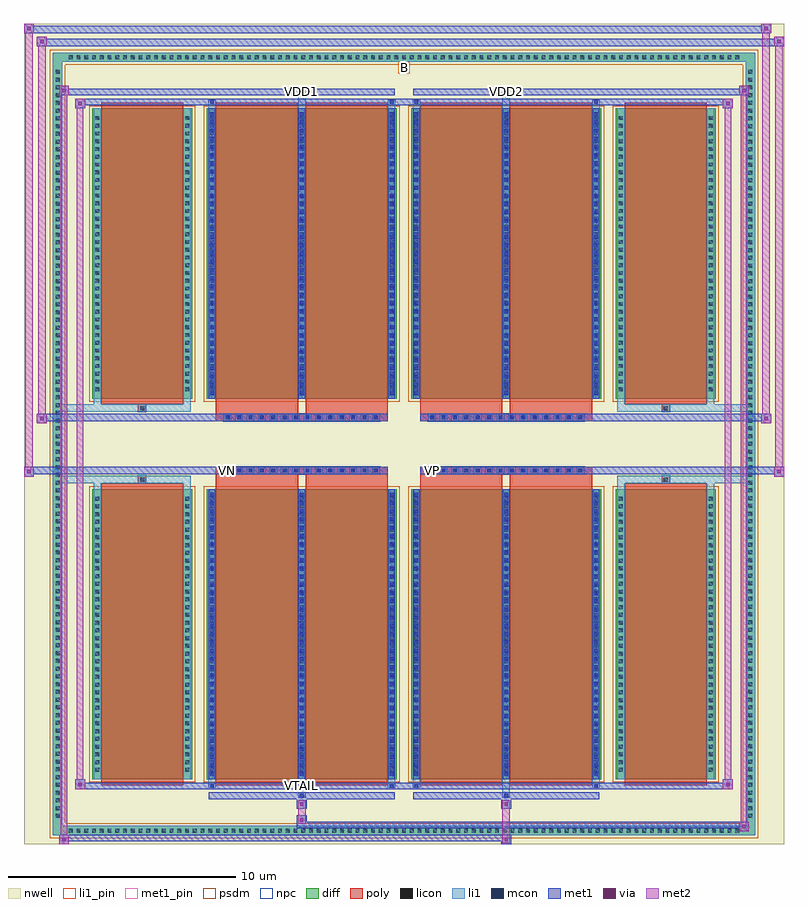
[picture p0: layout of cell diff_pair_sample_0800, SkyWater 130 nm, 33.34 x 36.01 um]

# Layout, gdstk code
import gdstk
lib = gdstk.Library(unit=1e-6, precision=5e-09)
def R(c, l, rs):  # rectangles x0, y0, x1, y1
    for r in rs: c.add(gdstk.rectangle(r[:2], r[2:], *l))
def A(c, l, x, y, w, h, nx, ny, dx, dy):  # array of equal rectangles
    R(c, l, [(x+i*dx, y+j*dy, x+i*dx+w, y+j*dy+h) for i in range(nx) for j in range(ny)])
def P(c, l, *ps):  # polygons
    for p in ps: c.add(gdstk.Polygon(p, *l))
nwell = (64, 20)
diff = (65, 20)
poly = (66, 20)
licon = (66, 44)
li1_pin = (67, 16)
li1 = (67, 20)
mcon = (67, 44)
met1_pin = (68, 16)
met1 = (68, 20)
via = (68, 44)
met2 = (69, 20)
psdm = (94, 20)
npc = (95, 20)

diff_pair_sample_0800 = lib.new_cell('diff_pair_sample_0800')
R(diff_pair_sample_0800, nwell, [(-16.67,-17.57,16.67,18.44), (-13.99,-15.76,-0.01,-0.8), (0.01,-15.76,13.99,-0.8), (-13.99,0.8,-0.01,15.76), (0.01,0.8,13.99,15.76)])
A(diff_pair_sample_0800, diff, -14.825, -17.17, 0.41, 0.41, 87, 2, 0.34, 33.93)
A(diff_pair_sample_0800, diff, -15.4, -16.525, 0.41, 0.41, 1, 97, 0, 0.34)
A(diff_pair_sample_0800, diff, 14.99, -16.525, 0.41, 0.41, 1, 97, 0, 0.34)
R(diff_pair_sample_0800, diff, [(-14.825,-17.17,14.825,-16.76), (-15.4,-16.525,-14.99,16.525), (14.99,-16.525,15.4,16.525), (-13.68,-14.715,-9.29,-1.985), (-8.65,-14.715,-0.32,-1.985), (0.32,-14.715,8.65,-1.985), (9.29,-14.715,13.68,-1.985), (-13.68,1.985,-9.29,14.715), (-8.65,1.985,-0.32,14.715), (0.32,1.985,8.65,14.715), (9.29,1.985,13.68,14.715), (-14.825,16.76,14.825,17.17)])
P(diff_pair_sample_0800, diff, [(15.4,17.17),(-15.4,17.17),(-15.4,-16.76),(-14.99,-16.76),(-14.99,16.76),(14.99,16.76),(14.99,-16.76),(-14.99,-16.76),(-15.4,-16.76),(-15.4,-17.17),(15.4,-17.17)])
A(diff_pair_sample_0800, poly, -7.9, -1.33, 0.33, 0.33, 14, 2, 0.5, 2.33)
A(diff_pair_sample_0800, poly, 1.07, -1.33, 0.33, 0.33, 14, 2, 0.5, 2.33)
R(diff_pair_sample_0800, poly, [(-13.29,-14.965,-9.68,-1.735), (-8.26,-14.965,-4.65,-1.735), (-4.32,-14.965,-0.71,-1.735), (0.71,-14.965,4.32,-1.735), (4.65,-14.965,8.26,-1.735), (9.68,-14.965,13.29,-1.735), (-11.65,-1.735,-11.32,-1.405), (-11.65,-1.735,-11.32,-1.405), (-8.26,-1.735,-4.65,-1.33), (-4.32,-1.735,-0.71,-1.33), (0.71,-1.735,4.32,-1.33), (4.65,-1.735,8.26,-1.33), (11.32,-1.735,11.65,-1.405), (11.32,-1.735,11.65,-1.405), (-8.26,-1.33,-0.71,-1), (0.71,-1.33,8.26,-1), (-8.26,1,-0.71,1.33), (0.71,1,8.26,1.33), (-8.26,1.33,-4.65,1.735), (-4.32,1.33,-0.71,1.735), (0.71,1.33,4.32,1.735), (4.65,1.33,8.26,1.735), (-11.65,1.405,-11.32,1.735), (-11.65,1.405,-11.32,1.735), (11.32,1.405,11.65,1.735), (11.32,1.405,11.65,1.735), (-13.29,1.735,-9.68,14.965), (-8.26,1.735,-4.65,14.965), (-4.32,1.735,-0.71,14.965), (0.71,1.735,4.32,14.965), (4.65,1.735,8.26,14.965), (9.68,1.735,13.29,14.965)])
A(diff_pair_sample_0800, licon, -14.705, -17.05, 0.17, 0.17, 87, 2, 0.34, 33.93)
A(diff_pair_sample_0800, licon, -15.28, -16.405, 0.17, 0.17, 1, 97, 0, 0.34)
A(diff_pair_sample_0800, licon, 15.11, -16.405, 0.17, 0.17, 1, 97, 0, 0.34)
A(diff_pair_sample_0800, licon, -13.54, -14.385, 0.17, 0.17, 1, 36, 0, 0.34)
A(diff_pair_sample_0800, licon, -9.6, -14.385, 0.17, 0.17, 1, 36, 0, 0.34)
A(diff_pair_sample_0800, licon, -8.51, -14.385, 0.17, 0.17, 3, 36, 3.94, 0.34)
A(diff_pair_sample_0800, licon, 0.46, -14.385, 0.17, 0.17, 3, 36, 3.94, 0.34)
A(diff_pair_sample_0800, licon, 9.43, -14.385, 0.17, 0.17, 1, 36, 0, 0.34)
A(diff_pair_sample_0800, licon, 13.37, -14.385, 0.17, 0.17, 1, 36, 0, 0.34)
A(diff_pair_sample_0800, licon, -7.82, -1.25, 0.17, 0.17, 14, 2, 0.5, 2.33)
A(diff_pair_sample_0800, licon, 1.15, -1.25, 0.17, 0.17, 14, 2, 0.5, 2.33)
A(diff_pair_sample_0800, licon, -13.54, 2.315, 0.17, 0.17, 1, 36, 0, 0.34)
A(diff_pair_sample_0800, licon, -9.6, 2.315, 0.17, 0.17, 1, 36, 0, 0.34)
A(diff_pair_sample_0800, licon, -8.51, 2.315, 0.17, 0.17, 3, 36, 3.94, 0.34)
A(diff_pair_sample_0800, licon, 0.46, 2.315, 0.17, 0.17, 3, 36, 3.94, 0.34)
A(diff_pair_sample_0800, licon, 9.43, 2.315, 0.17, 0.17, 1, 36, 0, 0.34)
A(diff_pair_sample_0800, licon, 13.37, 2.315, 0.17, 0.17, 1, 36, 0, 0.34)
R(diff_pair_sample_0800, licon, [(-11.57,-1.655,-11.4,-1.485), (11.4,-1.655,11.57,-1.485), (-11.57,1.485,-11.4,1.655), (11.4,1.485,11.57,1.655)])
R(diff_pair_sample_0800, li1_pin, [(-0.25,16.26,0.25,16.76)])
A(diff_pair_sample_0800, li1, -14.785, -17.13, 0.33, 0.33, 87, 2, 0.34, 33.93)
A(diff_pair_sample_0800, li1, -15.36, -16.485, 0.33, 0.33, 1, 97, 0, 0.34)
A(diff_pair_sample_0800, li1, 15.03, -16.485, 0.33, 0.33, 1, 97, 0, 0.34)
A(diff_pair_sample_0800, li1, -8.59, -14.715, 0.33, 12.73, 3, 2, 3.94, 16.7)
A(diff_pair_sample_0800, li1, 0.38, -14.715, 0.33, 12.73, 3, 2, 3.94, 16.7)
A(diff_pair_sample_0800, li1, -8.51, -14.555, 0.17, 0.17, 3, 35, 3.94, 0.36)
A(diff_pair_sample_0800, li1, -8.51, -14.555, 0.17, 12.41, 3, 2, 3.94, 16.7)
A(diff_pair_sample_0800, li1, 0.46, -14.555, 0.17, 0.17, 3, 35, 3.94, 0.36)
A(diff_pair_sample_0800, li1, 0.46, -14.555, 0.17, 12.41, 3, 2, 3.94, 16.7)
A(diff_pair_sample_0800, li1, -13.62, -14.465, 0.33, 0.33, 1, 36, 0, 0.34)
A(diff_pair_sample_0800, li1, -9.68, -14.465, 0.33, 0.33, 1, 36, 0, 0.34)
A(diff_pair_sample_0800, li1, -8.59, -14.465, 0.33, 0.33, 3, 36, 3.94, 0.34)
A(diff_pair_sample_0800, li1, 0.38, -14.465, 0.33, 0.33, 3, 36, 3.94, 0.34)
A(diff_pair_sample_0800, li1, 9.35, -14.465, 0.33, 0.33, 1, 36, 0, 0.34)
A(diff_pair_sample_0800, li1, 13.29, -14.465, 0.33, 0.33, 1, 36, 0, 0.34)
A(diff_pair_sample_0800, li1, -7.9, -1.33, 0.33, 0.33, 14, 2, 0.5, 2.33)
A(diff_pair_sample_0800, li1, 1.07, -1.33, 0.33, 0.33, 14, 2, 0.5, 2.33)
A(diff_pair_sample_0800, li1, -8.51, 2.145, 0.17, 0.17, 3, 35, 3.94, 0.36)
A(diff_pair_sample_0800, li1, 0.46, 2.145, 0.17, 0.17, 3, 35, 3.94, 0.36)
A(diff_pair_sample_0800, li1, -13.62, 2.235, 0.33, 0.33, 1, 36, 0, 0.34)
A(diff_pair_sample_0800, li1, -9.68, 2.235, 0.33, 0.33, 1, 36, 0, 0.34)
A(diff_pair_sample_0800, li1, -8.59, 2.235, 0.33, 0.33, 3, 36, 3.94, 0.34)
A(diff_pair_sample_0800, li1, 0.38, 2.235, 0.33, 0.33, 3, 36, 3.94, 0.34)
A(diff_pair_sample_0800, li1, 9.35, 2.235, 0.33, 0.33, 1, 36, 0, 0.34)
A(diff_pair_sample_0800, li1, 13.29, 2.235, 0.33, 0.33, 1, 36, 0, 0.34)
R(diff_pair_sample_0800, li1, [(-15.4,-17.17,-14.99,-16.76), (-15.4,-17.17,-14.99,-16.76), (-14.99,-17.17,14.99,-16.76), (14.99,-17.17,15.4,-16.76), (14.99,-17.17,15.4,-16.76), (-15.4,-16.76,-14.99,16.76), (14.99,-16.76,15.4,16.76), (-4.65,-15.52,-4.32,-14.715), (-4.57,-15.52,-4.4,-15.35), (4.32,-15.52,4.65,-14.715), (4.4,-15.52,4.57,-15.35), (-8.59,-15.09,-8.26,-14.715), (-8.51,-15.09,-8.34,-14.92), (-0.71,-15.09,-0.38,-14.715), (-0.63,-15.09,-0.46,-14.92), (0.38,-15.09,0.71,-14.715), (0.46,-15.09,0.63,-14.92), (8.26,-15.09,8.59,-14.715), (8.34,-15.09,8.51,-14.92), (-13.62,-14.715,-13.29,-1.985), (-9.68,-14.715,-9.35,-1.985), (9.35,-14.715,9.68,-1.985), (13.29,-14.715,13.62,-1.985), (-13.62,-1.985,-13.29,-1.405), (-9.68,-1.985,-9.35,-1.405), (9.35,-1.985,9.68,-1.405), (13.29,-1.985,13.62,-1.405), (-15.4,-1.735,-11.65,-1.405), (-13.62,-1.735,-11.65,-1.405), (-11.65,-1.735,-11.32,-1.405), (-11.32,-1.735,-9.35,-1.405), (9.35,-1.735,11.32,-1.405), (11.32,-1.735,11.65,-1.405), (11.32,-1.735,15.4,-1.405), (11.65,-1.735,13.62,-1.405), (-15.4,1.405,-11.65,1.735), (-13.62,1.405,-11.65,1.735), (-13.62,1.405,-13.29,1.985), (-11.65,1.405,-11.32,1.735), (-11.32,1.405,-9.35,1.735), (-9.68,1.405,-9.35,1.985), (9.35,1.405,11.32,1.735), (9.35,1.405,9.68,1.985), (11.32,1.405,11.65,1.735), (11.32,1.405,15.4,1.735), (11.65,1.405,13.62,1.735), (13.29,1.405,13.62,1.985), (-13.62,1.985,-13.29,14.715), (-9.68,1.985,-9.35,14.715), (9.35,1.985,9.68,14.715), (13.29,1.985,13.62,14.715), (-8.59,14.715,-8.26,15.09), (-4.65,14.715,-4.32,15.52), (-0.71,14.715,-0.38,15.09), (0.38,14.715,0.71,15.09), (4.32,14.715,4.65,15.52), (8.26,14.715,8.59,15.09), (-8.51,14.92,-8.34,15.09), (-0.63,14.92,-0.46,15.09), (0.46,14.92,0.63,15.09), (8.34,14.92,8.51,15.09), (-4.57,15.35,-4.4,15.52), (4.4,15.35,4.57,15.52), (-15.4,16.76,-14.99,17.17), (-15.4,16.76,-14.99,17.17), (-14.99,16.76,14.99,17.17), (14.99,16.76,15.4,17.17), (14.99,16.76,15.4,17.17)])
A(diff_pair_sample_0800, mcon, -8.51, -14.555, 0.17, 0.17, 3, 35, 3.94, 0.36)
A(diff_pair_sample_0800, mcon, 0.46, -14.555, 0.17, 0.17, 3, 35, 3.94, 0.36)
A(diff_pair_sample_0800, mcon, -7.82, -1.25, 0.17, 0.17, 14, 2, 0.5, 2.33)
A(diff_pair_sample_0800, mcon, 1.15, -1.25, 0.17, 0.17, 14, 2, 0.5, 2.33)
A(diff_pair_sample_0800, mcon, -8.51, 2.145, 0.17, 0.17, 3, 35, 3.94, 0.36)
A(diff_pair_sample_0800, mcon, 0.46, 2.145, 0.17, 0.17, 3, 35, 3.94, 0.36)
R(diff_pair_sample_0800, mcon, [(-4.57,-15.52,-4.4,-15.35), (4.4,-15.52,4.57,-15.35), (-8.51,-15.09,-8.34,-14.92), (-0.63,-15.09,-0.46,-14.92), (0.46,-15.09,0.63,-14.92), (8.34,-15.09,8.51,-14.92), (-8.51,14.92,-8.34,15.09), (-0.63,14.92,-0.46,15.09), (0.46,14.92,0.63,15.09), (8.34,14.92,8.51,15.09), (-4.57,15.35,-4.4,15.52), (4.4,15.35,4.57,15.52)])
R(diff_pair_sample_0800, met1_pin, [(-4.62,-15.13,-4.35,-14.86), (-7.87,-1.29,-7.6,-1.02), (1.1,-1.29,1.37,-1.02), (-4.62,15.31,-4.35,15.58), (4.35,15.31,4.62,15.58)])
A(diff_pair_sample_0800, met1, -8.57, -14.715, 0.29, 12.73, 3, 2, 3.94, 16.7)
A(diff_pair_sample_0800, met1, 0.4, -14.715, 0.29, 12.73, 3, 2, 3.94, 16.7)
A(diff_pair_sample_0800, met1, -8.57, -14.615, 0.29, 0.29, 3, 35, 3.94, 0.36)
A(diff_pair_sample_0800, met1, 0.4, -14.615, 0.29, 0.29, 3, 35, 3.94, 0.36)
A(diff_pair_sample_0800, met1, -7.88, -1.31, 0.29, 0.29, 14, 2, 0.5, 2.33)
A(diff_pair_sample_0800, met1, 1.09, -1.31, 0.29, 0.29, 14, 2, 0.5, 2.33)
A(diff_pair_sample_0800, met1, -8.57, 2.085, 0.29, 0.29, 3, 35, 3.94, 0.36)
A(diff_pair_sample_0800, met1, 0.4, 2.085, 0.29, 0.29, 3, 35, 3.94, 0.36)
R(diff_pair_sample_0800, met1, [(-15.13,-17.57,-14.7,-17.14), (4.27,-17.57,4.7,-17.14), (-15.13,-17.43,4.7,-17.14), (14.7,-17,15.13,-16.57), (-4.7,-16.86,15.13,-16.57), (-4.7,-16.72,-4.27,-16.29), (-4.7,-16.01,-4.27,-15.58), (4.27,-16.01,4.7,-15.58), (-8.57,-15.58,-0.4,-15.29), (-4.63,-15.58,-4.34,-15.29), (0.4,-15.58,8.57,-15.29), (4.34,-15.58,4.63,-15.29), (-14.42,-15.15,-13.99,-14.72), (-14.42,-15.15,-8.57,-14.86), (-8.57,-15.15,-8.28,-14.86), (-8.57,-15.15,-0.4,-14.86), (-0.69,-15.15,-0.4,-14.86), (-0.4,-15.15,0.4,-14.86), (0.4,-15.15,0.69,-14.86), (0.4,-15.15,8.57,-14.86), (8.28,-15.15,8.57,-14.86), (8.57,-15.15,14.42,-14.86), (13.99,-15.15,14.42,-14.72), (-16.67,-1.43,-16.24,-1), (16.24,-1.43,16.67,-1), (-16.67,-1.33,-0.71,-1), (-8.26,-1.33,-0.71,-1), (0.71,-1.33,8.26,-1), (0.71,-1.33,16.67,-1), (-16.1,0.9,-15.67,1.33), (15.67,0.9,16.1,1.33), (-16.1,1,-8.26,1.33), (-8.26,1,-0.71,1.33), (0.71,1,8.26,1.33), (8.26,1,16.1,1.33), (-14.42,14.72,-13.99,15.15), (13.99,14.72,14.42,15.15), (-14.42,14.86,-8.57,15.15), (-8.57,14.86,-8.28,15.15), (-8.57,14.86,-0.4,15.15), (-0.69,14.86,-0.4,15.15), (-0.4,14.86,0.4,15.15), (0.4,14.86,0.69,15.15), (0.4,14.86,8.57,15.15), (8.28,14.86,8.57,15.15), (8.57,14.86,14.42,15.15), (-15.13,15.29,-14.7,15.72), (-15.13,15.29,-8.57,15.58), (-8.57,15.29,-0.4,15.58), (-4.63,15.29,-4.34,15.58), (0.4,15.29,8.57,15.58), (4.34,15.29,4.63,15.58), (8.57,15.29,15.13,15.58), (14.7,15.29,15.13,15.72), (-16.1,17.44,-15.67,17.87), (-16.1,17.44,-13.99,17.77), (-13.99,17.44,13.99,17.77), (13.99,17.44,16.67,17.77), (16.24,17.44,16.67,17.87), (-16.67,18.01,-16.24,18.44), (-16.67,18.01,-13.99,18.34), (-13.99,18.01,13.99,18.34), (13.99,18.01,16.1,18.34), (15.67,18.01,16.1,18.44)])
R(diff_pair_sample_0800, via, [(-14.99,-17.43,-14.84,-17.28), (4.41,-17.43,4.56,-17.28), (14.84,-16.86,14.99,-16.71), (-4.56,-16.58,-4.41,-16.43), (-4.56,-15.87,-4.41,-15.72), (4.41,-15.87,4.56,-15.72), (-14.28,-15.01,-14.13,-14.86), (14.13,-15.01,14.28,-14.86), (-16.53,-1.29,-16.38,-1.14), (16.38,-1.29,16.53,-1.14), (-15.96,1.04,-15.81,1.19), (15.81,1.04,15.96,1.19), (-14.28,14.86,-14.13,15.01), (14.13,14.86,14.28,15.01), (-14.99,15.43,-14.84,15.58), (14.84,15.43,14.99,15.58), (-15.96,17.58,-15.81,17.73), (16.38,17.58,16.53,17.73), (-16.53,18.15,-16.38,18.3), (15.81,18.15,15.96,18.3)])
R(diff_pair_sample_0800, met2, [(-15.13,-17.57,-14.7,-17.14), (-15.06,-17.57,-14.77,15.72), (-14.77,-17.57,-14.7,-17.14), (-15.08,-17.52,-14.75,-17.19), (4.32,-17.52,4.65,-17.19), (4.32,-17.19,4.65,-15.96), (14.7,-17,15.13,-16.57), (14.77,-17,15.06,15.72), (15.06,-17,15.13,-16.57), (14.75,-16.95,15.08,-16.62), (-4.65,-16.67,-4.32,-16.34), (-4.65,-16.34,-4.32,-15.96), (-4.65,-15.96,-4.32,-15.63), (4.32,-15.96,4.65,-15.63), (-14.42,-15.15,-13.99,-14.72), (-14.35,-15.15,-14.06,15.15), (-14.06,-15.15,-13.99,-14.72), (13.99,-15.15,14.42,-14.72), (14.06,-15.15,14.35,15.15), (14.35,-15.15,14.42,-14.72), (-14.37,-15.1,-14.04,-14.77), (14.04,-15.1,14.37,-14.77), (-16.67,-1.43,-16.24,-1), (-16.62,-1.43,-16.29,18.44), (-16.29,-1.43,-16.24,-1), (16.24,-1.43,16.67,-1), (16.29,-1.43,16.62,17.87), (16.62,-1.43,16.67,-1), (-16.62,-1.38,-16.29,-1.05), (16.29,-1.38,16.62,-1.05), (-16.1,0.9,-15.67,1.33), (-16.05,0.9,-15.72,17.87), (-15.72,0.9,-15.67,1.33), (15.67,0.9,16.1,1.33), (15.72,0.9,16.05,18.44), (16.05,0.9,16.1,1.33), (-16.05,0.95,-15.72,1.28), (15.72,0.95,16.05,1.28), (-14.42,14.72,-13.99,15.15), (-14.06,14.72,-13.99,15.15), (13.99,14.72,14.42,15.15), (14.35,14.72,14.42,15.15), (-14.37,14.77,-14.04,15.1), (14.04,14.77,14.37,15.1), (-15.13,15.29,-14.7,15.72), (-14.77,15.29,-14.7,15.72), (14.7,15.29,15.13,15.72), (15.06,15.29,15.13,15.72), (-15.08,15.34,-14.75,15.67), (14.75,15.34,15.08,15.67), (-16.1,17.44,-15.67,17.87), (-15.72,17.44,-15.67,17.87), (16.24,17.44,16.67,17.87), (16.62,17.44,16.67,17.87), (-16.05,17.49,-15.72,17.82), (16.29,17.49,16.62,17.82), (-16.67,18.01,-16.24,18.44), (-16.29,18.01,-16.24,18.44), (15.67,18.01,16.1,18.44), (16.05,18.01,16.1,18.44), (-16.62,18.06,-16.29,18.39), (15.72,18.06,16.05,18.39)])
R(diff_pair_sample_0800, psdm, [(-13.81,-14.845,-9.16,-1.855), (-8.78,-14.845,-0.19,-1.855), (0.19,-14.845,8.78,-1.855), (9.16,-14.845,13.81,-1.855), (-13.81,1.855,-9.16,14.845), (-8.78,1.855,-0.19,14.845), (0.19,1.855,8.78,14.845), (9.16,1.855,13.81,14.845)])
P(diff_pair_sample_0800, psdm, [(15.53,17.3),(-15.53,17.3),(-15.53,-16.63),(-14.86,-16.63),(-14.86,16.63),(14.86,16.63),(14.86,-16.63),(-14.86,-16.63),(-15.53,-16.63),(-15.53,-17.3),(15.53,-17.3)])
A(diff_pair_sample_0800, npc, -7.92, -1.35, 0.37, 0.37, 14, 2, 0.5, 2.33)
A(diff_pair_sample_0800, npc, 1.05, -1.35, 0.37, 0.37, 14, 2, 0.5, 2.33)
R(diff_pair_sample_0800, npc, [(-11.67,-1.755,-11.3,-1.385), (11.3,-1.755,11.67,-1.385), (-7.92,-1.35,-7.05,-0.98), (-7.92,-1.35,-7.05,-0.98), (-7.42,-1.35,-6.55,-0.98), (-7.42,-1.35,-6.55,-0.98), (-6.92,-1.35,-6.05,-0.98), (-6.92,-1.35,-6.05,-0.98), (-6.42,-1.35,-5.55,-0.98), (-6.42,-1.35,-5.55,-0.98), (-5.92,-1.35,-5.05,-0.98), (-5.92,-1.35,-5.05,-0.98), (-5.42,-1.35,-4.55,-0.98), (-5.42,-1.35,-4.55,-0.98), (-4.92,-1.35,-4.05,-0.98), (-4.92,-1.35,-4.05,-0.98), (-4.42,-1.35,-3.55,-0.98), (-4.42,-1.35,-3.55,-0.98), (-3.92,-1.35,-3.05,-0.98), (-3.92,-1.35,-3.05,-0.98), (-3.42,-1.35,-2.55,-0.98), (-3.42,-1.35,-2.55,-0.98), (-2.92,-1.35,-2.05,-0.98), (-2.92,-1.35,-2.05,-0.98), (-2.42,-1.35,-1.55,-0.98), (-2.42,-1.35,-1.55,-0.98), (-1.92,-1.35,-1.05,-0.98), (-1.92,-1.35,-1.05,-0.98), (1.05,-1.35,1.92,-0.98), (1.05,-1.35,1.92,-0.98), (1.55,-1.35,2.42,-0.98), (1.55,-1.35,2.42,-0.98), (2.05,-1.35,2.92,-0.98), (2.05,-1.35,2.92,-0.98), (2.55,-1.35,3.42,-0.98), (2.55,-1.35,3.42,-0.98), (3.05,-1.35,3.92,-0.98), (3.05,-1.35,3.92,-0.98), (3.55,-1.35,4.42,-0.98), (3.55,-1.35,4.42,-0.98), (4.05,-1.35,4.92,-0.98), (4.05,-1.35,4.92,-0.98), (4.55,-1.35,5.42,-0.98), (4.55,-1.35,5.42,-0.98), (5.05,-1.35,5.92,-0.98), (5.05,-1.35,5.92,-0.98), (5.55,-1.35,6.42,-0.98), (5.55,-1.35,6.42,-0.98), (6.05,-1.35,6.92,-0.98), (6.05,-1.35,6.92,-0.98), (6.55,-1.35,7.42,-0.98), (6.55,-1.35,7.42,-0.98), (7.05,-1.35,7.92,-0.98), (7.05,-1.35,7.92,-0.98), (-7.92,0.98,-7.05,1.35), (-7.92,0.98,-7.05,1.35), (-7.42,0.98,-6.55,1.35), (-7.42,0.98,-6.55,1.35), (-6.92,0.98,-6.05,1.35), (-6.92,0.98,-6.05,1.35), (-6.42,0.98,-5.55,1.35), (-6.42,0.98,-5.55,1.35), (-5.92,0.98,-5.05,1.35), (-5.92,0.98,-5.05,1.35), (-5.42,0.98,-4.55,1.35), (-5.42,0.98,-4.55,1.35), (-4.92,0.98,-4.05,1.35), (-4.92,0.98,-4.05,1.35), (-4.42,0.98,-3.55,1.35), (-4.42,0.98,-3.55,1.35), (-3.92,0.98,-3.05,1.35), (-3.92,0.98,-3.05,1.35), (-3.42,0.98,-2.55,1.35), (-3.42,0.98,-2.55,1.35), (-2.92,0.98,-2.05,1.35), (-2.92,0.98,-2.05,1.35), (-2.42,0.98,-1.55,1.35), (-2.42,0.98,-1.55,1.35), (-1.92,0.98,-1.05,1.35), (-1.92,0.98,-1.05,1.35), (1.05,0.98,1.92,1.35), (1.05,0.98,1.92,1.35), (1.55,0.98,2.42,1.35), (1.55,0.98,2.42,1.35), (2.05,0.98,2.92,1.35), (2.05,0.98,2.92,1.35), (2.55,0.98,3.42,1.35), (2.55,0.98,3.42,1.35), (3.05,0.98,3.92,1.35), (3.05,0.98,3.92,1.35), (3.55,0.98,4.42,1.35), (3.55,0.98,4.42,1.35), (4.05,0.98,4.92,1.35), (4.05,0.98,4.92,1.35), (4.55,0.98,5.42,1.35), (4.55,0.98,5.42,1.35), (5.05,0.98,5.92,1.35), (5.05,0.98,5.92,1.35), (5.55,0.98,6.42,1.35), (5.55,0.98,6.42,1.35), (6.05,0.98,6.92,1.35), (6.05,0.98,6.92,1.35), (6.55,0.98,7.42,1.35), (6.55,0.98,7.42,1.35), (7.05,0.98,7.92,1.35), (7.05,0.98,7.92,1.35), (-11.67,1.385,-11.3,1.755), (11.3,1.385,11.67,1.755)])
diff_pair_sample_0800.add(gdstk.Label('VTAIL', (-4.485,-14.995), layer=68, texttype=5))
diff_pair_sample_0800.add(gdstk.Label('VN', (-7.735,-1.155), layer=68, texttype=5))
diff_pair_sample_0800.add(gdstk.Label('VP', (1.235,-1.155), layer=68, texttype=5))
diff_pair_sample_0800.add(gdstk.Label('B', (0,16.51), layer=67, texttype=5))
diff_pair_sample_0800.add(gdstk.Label('VDD2', (4.485,15.445), layer=68, texttype=5))
diff_pair_sample_0800.add(gdstk.Label('VDD1', (-4.485,15.445), layer=68, texttype=5))

lib.write_gds('diff_pair_sample_0800.gds')
